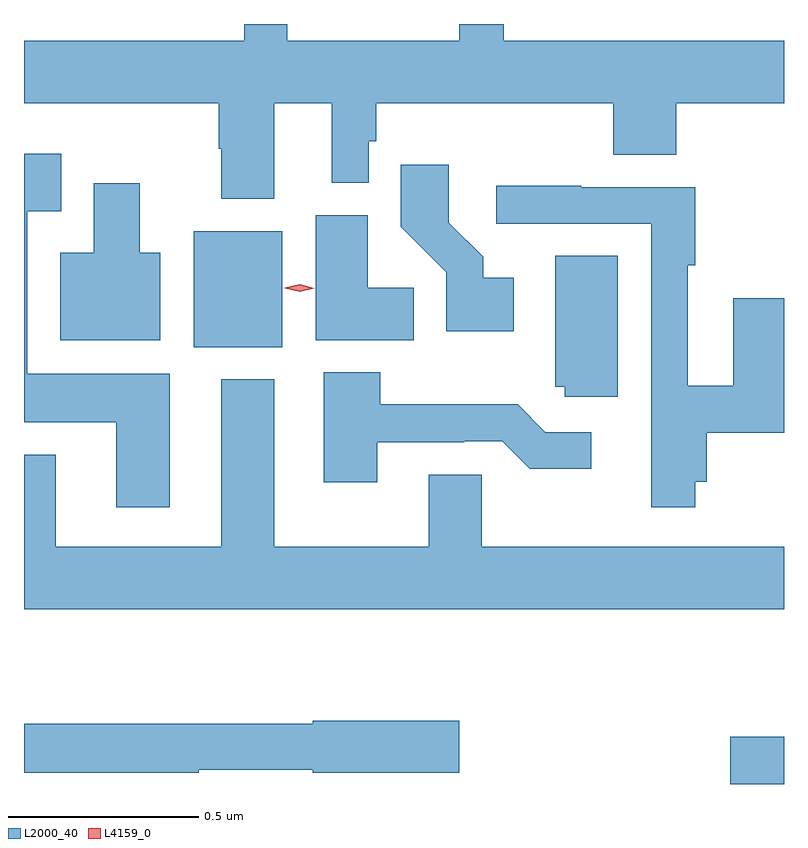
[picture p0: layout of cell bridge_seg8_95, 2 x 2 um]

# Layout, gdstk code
import gdstk
lib = gdstk.Library(unit=1e-6, precision=1e-09)
def R(c, l, rs):  # rectangles x0, y0, x1, y1
    for r in rs: c.add(gdstk.rectangle(r[:2], r[2:], *l))
def P(c, l, *ps):  # polygons
    for p in ps: c.add(gdstk.Polygon(p, *l))
L2000_40 = (2000, 40)
L4159_0 = (4159, 0)

bridge_seg8_95 = lib.new_cell('bridge_seg8_95')
R(bridge_seg8_95, L2000_40, [(694.806,1156,694.948,1156.125), (693.395,1157.15,693.628,1157.455)])
P(bridge_seg8_95, L2000_40, [(693.607,1157.792),(693.758,1157.792),(693.758,1157.582),(693.855,1157.582),(693.855,1157.691),(693.875,1157.691),(693.875,1157.792),(694.499,1157.792),(694.499,1157.656),(694.664,1157.656),(694.664,1157.792),(694.948,1157.792),(694.948,1157.956),(694.211,1157.956),(694.211,1158),(694.094,1158),(694.094,1157.956),(693.641,1157.956),(693.641,1158),(693.527,1158),(693.527,1157.956),(692.948,1157.956),(692.948,1157.792),(693.46,1157.792),(693.46,1157.672),(693.467,1157.672),(693.467,1157.54),(693.607,1157.54)],
  [(693.331,1157.08),(692.956,1157.08),(692.956,1157.507),(693.046,1157.507),(693.046,1157.659),(692.948,1157.659),(692.948,1156.952),(693.191,1156.952),(693.191,1156.728),(693.331,1156.728)],
  [(694.237,1157.332),(694.156,1157.332),(694.156,1157.387),(694.066,1157.477),(694.066,1157.629),(693.94,1157.629),(693.94,1157.466),(694.059,1157.347),(694.059,1157.192),(694.237,1157.192)],
  [(693.307,1157.398),(693.253,1157.398),(693.253,1157.581),(693.131,1157.581),(693.131,1157.398),(693.044,1157.398),(693.044,1157.168),(693.307,1157.168)],
  [(694.715,1156.796),(694.745,1156.796),(694.745,1156.925),(694.948,1156.925),(694.948,1157.278),(694.814,1157.278),(694.814,1157.048),(694.695,1157.048),(694.695,1157.365),(694.715,1157.365),(694.715,1157.571),(694.415,1157.571),(694.415,1157.574),(694.191,1157.574),(694.191,1157.475),(694.599,1157.475),(694.599,1156.728),(694.715,1156.728)],
  [(693.974,1157.306),(693.853,1157.306),(693.853,1157.497),(693.716,1157.497),(693.716,1157.168),(693.974,1157.168)],
  [(694.51,1157.39),(694.346,1157.39),(694.346,1157.046),(694.371,1157.046),(694.371,1157.019),(694.51,1157.019)],
  [(693.877,1156.899),(694.106,1156.899),(694.106,1156.902),(694.206,1156.902),(694.279,1156.829),(694.441,1156.829),(694.441,1156.926),(694.32,1156.926),(694.247,1156.999),(693.885,1156.999),(693.885,1157.083),(693.737,1157.083),(693.737,1156.794),(693.877,1156.794)],
  [(692.948,1156.867),(692.948,1156.46),(694.948,1156.46),(694.948,1156.624),(694.152,1156.624),(694.152,1156.814),(694.013,1156.814),(694.013,1156.624),(693.607,1156.624),(693.607,1157.065),(693.467,1157.065),(693.467,1156.624),(693.031,1156.624),(693.031,1156.867)],
  [(693.408,1156.038),(693.708,1156.038),(693.708,1156.03),(694.093,1156.03),(694.093,1156.167),(693.708,1156.167),(693.708,1156.159),(692.948,1156.159),(692.948,1156.03),(693.408,1156.03)])
P(bridge_seg8_95, L4159_0, [(693.673,1157.295),(693.634,1157.305),(693.634,1157.305),(693.634,1157.306),(693.673,1157.315),(693.712,1157.304),(693.712,1157.304),(693.712,1157.304)])

lib.write_gds('bridge_seg8_95.gds')
